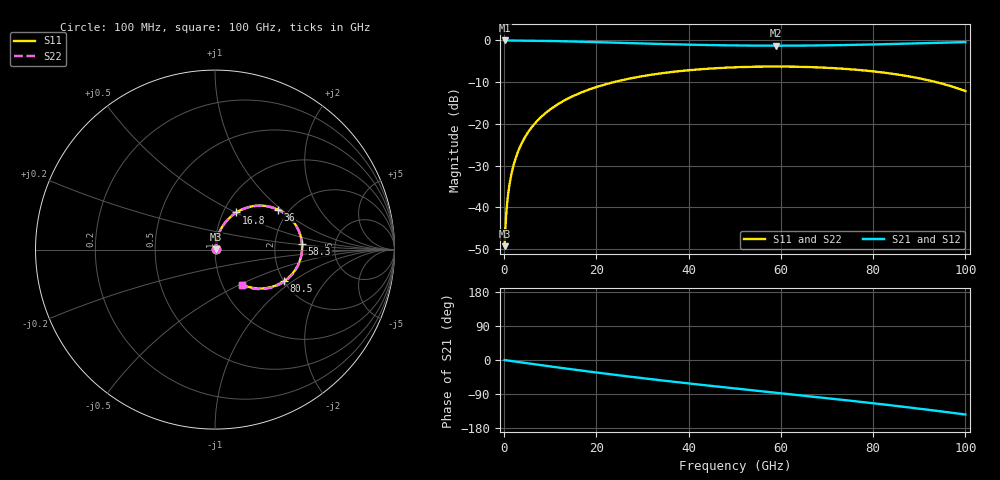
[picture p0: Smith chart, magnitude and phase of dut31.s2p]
! Touchstone file exported from HFSS 2026.1.0
!  File:  C:/ffzhzh/LocalFiles/Ansys_Project_Files/temp_train_RDL_31_1783497990_41296.aedt
!  Generated:  04:07:38 PM Jul  8, 2026
!  Design:  RDL
!  Project:  temp_train_RDL_31_1783497990_41296
! Variables:
!  h_bsmrdl = 2um
!  h_ox = 20um
!  h_rdl = 5um
!  h_sub = 80um
!  h_tmrdl = 2.32um
!  h_tsv = 80um
!  h_via = 3um
!  l_bsmrdl = 300um
!  l_sub = 876.04um
!  l_tmrdl = 476.04um
!  m_sub = 200um
!  pitch = 50.22um
!  r_tsv = 6um
!  s_tmrdl = 10um
!  w_bsmrdl = 18um
!  w_sub = 500um
!  w_tmrdl = 28.18um
!  x_tsv_center1 = 490.13um
!  x_tsv_center2 = 808.13um
!  x_tsv_center3 = 1312.35um
!  x_tsv_center4 = 1630.35um
!  x_tsv_center5 = 2134.57um
!  x_tsv_center6 = 2452.57um
# GHz S MA R 50.000000
! Terminal data exported
! Port[1] = TM_RDL1_1_T1
! Port[2] = TM_RDL1_1_T2
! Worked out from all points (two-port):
!   1000 points, 100 MHz to 100 GHz, reference 50 ohm
!   highest |S21| = -0.03 dB at 100 MHz (marker M1); lowest = -1.3 dB at 59 GHz (marker M2)
!   |S21| within 3 dB of the highest: start of sweep to end of sweep
!   lowest |S11| = -49.3 dB at 100 MHz (marker M3), VSWR 1.01, Z = 50.3 + j0.179 ohm
!   |S11| at or under -10 dB: start of sweep to 23.78 GHz; 93.67 GHz to end of sweep
!   |S22| runs from -49.3 to -6.3 dB; largest |S21 - S12| = 1.9e-14
!   S11 on the Smith chart (normalised r, x): 100 MHz: 1.01, +0.00; 16.8 GHz: 1.15, +0.50; 36 GHz: 1.76, +0.95; 58.3 GHz: 2.87, +0.24; 80.5 GHz: 2.00, -0.86; 100 GHz: 1.24, -0.51
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0.1  0.003437 31.1  0.9971 -0.2  0.9971 -0.2  0.003437 31.1
! Gamma 0 0 0 0
! Port Impedance 50 0 50 0
0.9  0.01493 73.4  0.996 -1.6  0.996 -1.6  0.01493 73.4
1.2  0.01937 76.0  0.9958 -2.1  0.9958 -2.1  0.01937 76.0
1.6  0.02536 77.9  0.9956 -2.8  0.9956 -2.8  0.02536 77.9
2.1  0.03289 79.0  0.9952 -3.6  0.9952 -3.6  0.03289 79.0
2.7  0.04196 79.4  0.9948 -4.6  0.9948 -4.6  0.04196 79.4
4.2  0.06458 78.7  0.9933 -7.2  0.9933 -7.2  0.06458 78.6
6.3  0.09587 76.2  0.9903 -10.8  0.9903 -10.8  0.09588 76.1
9.1  0.1365 72.1  0.9847 -15.5  0.9847 -15.5  0.1365 72.0
12.6  0.1848 66.6  0.9758 -21.2  0.9758 -21.2  0.1848 66.6
16.8  0.2384 60.1  0.963 -28.0  0.963 -28.0  0.2385 60.0
24.2  0.3204 49.0  0.9377 -39.4  0.9377 -39.4  0.3204 48.8
33.4  0.3986 36.0  0.9068 -52.8  0.9068 -52.8  0.3987 35.7
36  0.416 32.4  0.8989 -56.4  0.8989 -56.4  0.416 32.2
50.1  0.4759 14.1  0.8688 -75.1  0.8688 -75.1  0.476 13.7
58.3  0.4859 3.8  0.8633 -85.6  0.8633 -85.6  0.486 3.4
59  0.4859 2.9  0.8633 -86.5  0.8633 -86.5  0.486 2.5
66.7  0.4778 -6.8  0.8675 -96.4  0.8675 -96.4  0.4779 -7.3
80.5  0.4223 -24.7  0.8941 -114.8  0.8941 -114.8  0.4225 -25.3
83.4  0.4036 -28.6  0.9022 -118.9  0.9022 -118.9  0.4037 -29.3
92.3  0.3298 -41.1  0.9298 -131.9  0.9298 -131.9  0.3299 -41.8
100  0.2467 -52.2  0.9531 -143.8  0.9531 -143.8  0.2468 -53.1
